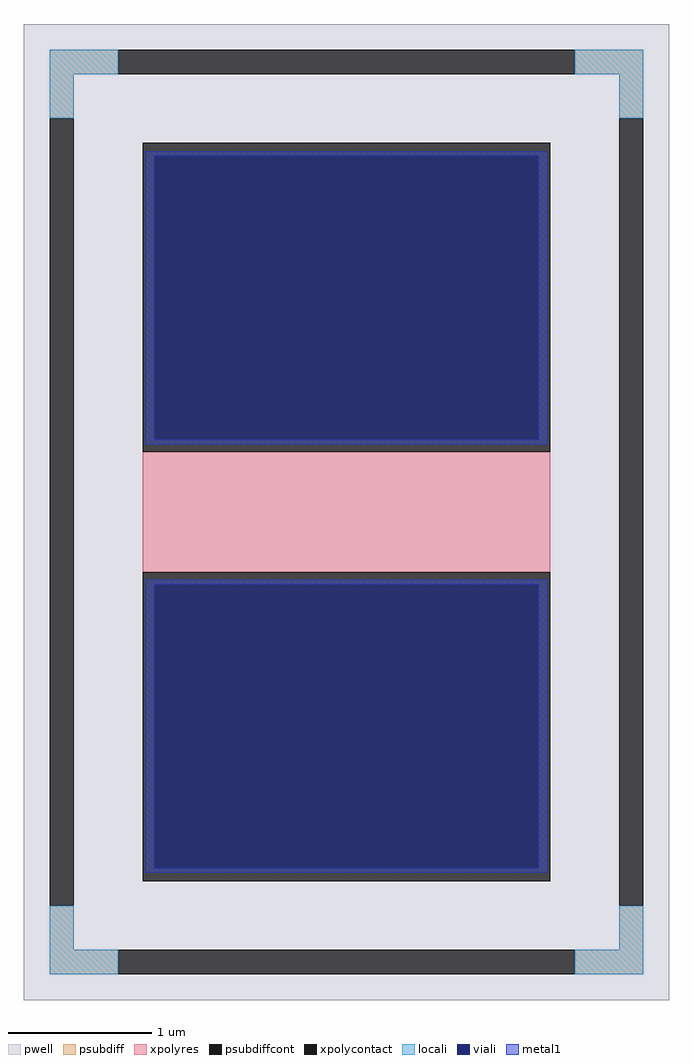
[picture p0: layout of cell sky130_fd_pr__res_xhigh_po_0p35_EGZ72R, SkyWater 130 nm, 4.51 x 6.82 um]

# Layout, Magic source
magic
tech sky130A
magscale 1 2
<< pwell >>
rect -451 -682 451 682
<< psubdiff >>
rect -415 612 -319 646
rect 319 612 415 646
rect -415 550 -381 612
rect 381 550 415 612
rect -415 -612 -381 -550
rect 381 -612 415 -550
rect -415 -646 -319 -612
rect 319 -646 415 -612
<< psubdiffcont >>
rect -319 612 319 646
rect -415 -550 -381 550
rect 381 -550 415 550
rect -319 -646 319 -612
<< xpolycontact >>
rect -285 84 285 516
rect -285 -516 285 -84
<< xpolyres >>
rect -285 -84 285 84
<< locali >>
rect -415 612 -319 646
rect 319 612 415 646
rect -415 550 -381 612
rect 381 550 415 612
rect -415 -612 -381 -550
rect 381 -612 415 -550
rect -415 -646 -319 -612
rect 319 -646 415 -612
<< viali >>
rect -269 101 269 498
rect -269 -498 269 -101
<< metal1 >>
rect -281 498 281 504
rect -281 101 -269 498
rect 269 101 281 498
rect -281 95 281 101
rect -281 -101 281 -95
rect -281 -498 -269 -101
rect 269 -498 281 -101
rect -281 -504 281 -498
<< properties >>
string FIXED_BBOX -398 -629 398 629
string gencell sky130_fd_pr__res_xhigh_po_0p35
string library sky130
string parameters w 2.850 l 1 m 1 nx 1 wmin 2.850 lmin 0.50 rho 2000 val 833.824 dummy 0 dw 0.0 term 188.2 sterm 0.0 caplen 0 wmax 2.850 guard 1 glc 1 grc 1 gtc 1 gbc 1 compatible {sky130_fd_pr__res_xhigh_po_0p35  sky130_fd_pr__res_xhigh_po_0p69 sky130_fd_pr__res_xhigh_po_1p41  sky130_fd_pr__res_xhigh_po_2p85 sky130_fd_pr__res_xhigh_po_5p73} snake 0 full_metal 1 n_guard 0 hv_guard 0 vias 1 viagb 0 viagt 0 viagl 0 viagr 0
<< end >>
